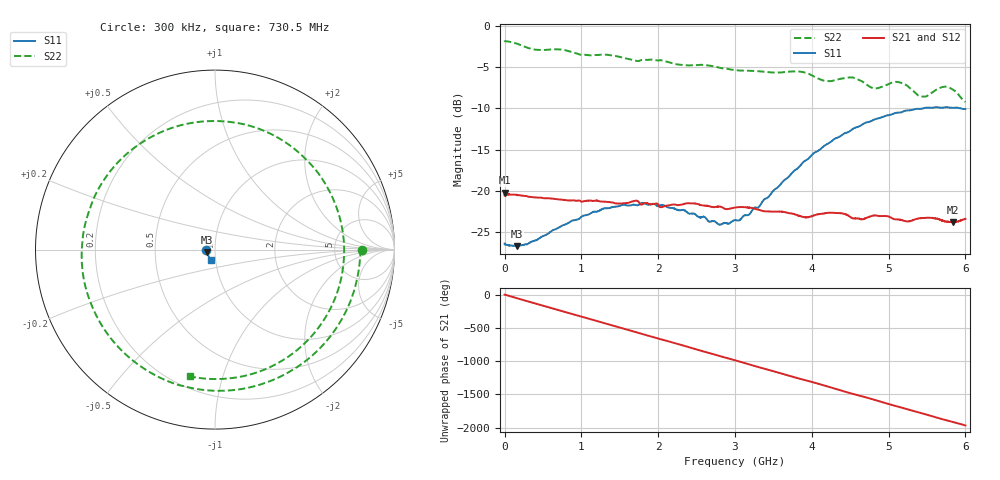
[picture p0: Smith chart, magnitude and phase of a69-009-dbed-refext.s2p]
!  3/18/2021  20:29:32
! Ref Plane: 13.288 mm
# MHZ S MA R  50
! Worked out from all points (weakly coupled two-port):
!   10001 points, 300 kHz to 6 GHz, reference 50 ohm
!   highest |S21| = -20.24 dB at 300 kHz (marker M1); lowest = -23.8 dB at 5.836 GHz (marker M2)
!   lowest |S11| = -26.7 dB at 162.9 MHz (marker M3), VSWR 1.10, Z = 45.8 - j1.28 ohm
!   |S11| at or under -10 dB: start of sweep to 5.451 GHz; 5.94 GHz to end of sweep
!   |S22| runs from -9.2 to -1.7 dB; largest |S21 - S12| = 0.0025
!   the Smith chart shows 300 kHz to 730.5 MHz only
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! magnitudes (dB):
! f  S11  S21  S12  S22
! 300 kHz  -26.4  -20.2  -20.4  -1.7
! 162.9 MHz  -26.7  -20.5  -20.5  -2.2
! 395.1 MHz  -26.0  -20.8  -20.8  -2.9
! 737.7 MHz  -24.3  -21.1  -21.1  -2.9
! 1 GHz  -23.2  -21.3  -21.4  -3.5
! 1.538 GHz  -21.7  -21.5  -21.5  -3.8
! 1.71 GHz  -21.8  -21.2  -21.2  -4.2
! 2.001 GHz  -21.9  -21.7  -21.7  -4.2
! 2.333 GHz  -22.3  -21.6  -21.6  -4.7
! 2.797 GHz  -24.1  -21.9  -21.9  -5.1
! 3 GHz  -23.6  -22.0  -22.1  -5.4
! 3.311 GHz  -22.0  -22.3  -22.3  -5.5
! 4 GHz  -15.7  -23.1  -23.1  -6.0
! 4.205 GHz  -14.3  -22.7  -22.7  -6.7
! 4.535 GHz  -12.5  -23.3  -23.4  -6.3
! 4.816 GHz  -11.3  -23.0  -23.0  -7.6
! 5 GHz  -10.8  -23.1  -23.2  -7.0
! 5.191 GHz  -10.4  -23.6  -23.6  -7.0
! 5.438 GHz  -10.0  -23.3  -23.3  -8.6
! 5.704 GHz  -9.9  -23.6  -23.7  -7.4
! 5.836 GHz  -9.9  -23.8  -23.8  -7.7
! 6 GHz  -10.1  -23.4  -23.4  -9.2
